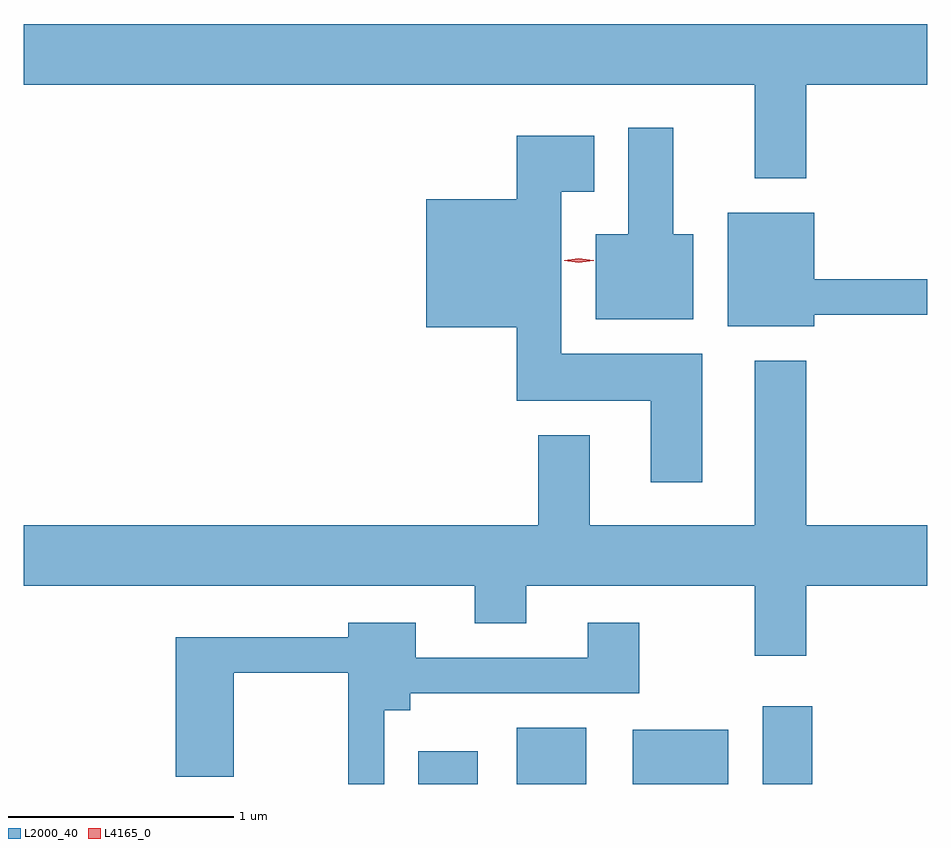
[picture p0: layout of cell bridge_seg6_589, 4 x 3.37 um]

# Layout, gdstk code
import gdstk
lib = gdstk.Library(unit=1e-6, precision=1e-09)
def R(c, l, rs):  # rectangles x0, y0, x1, y1
    for r in rs: c.add(gdstk.rectangle(r[:2], r[2:], *l))
def P(c, l, *ps):  # polygons
    for p in ps: c.add(gdstk.Polygon(p, *l))
L2000_40 = (2000, 40)
L4165_0 = (4165, 0)

bridge_seg6_589 = lib.new_cell('bridge_seg6_589')
R(bridge_seg6_589, L2000_40, [(605.211,1611.319,605.474,1611.464), (605.646,1611.319,605.954,1611.569), (606.161,1611.319,606.584,1611.559), (606.736,1611.319,606.954,1611.664)])
P(bridge_seg6_589, L2000_40, [(606.929,1614.416),(607.464,1614.416),(607.464,1614.684),(603.464,1614.684),(603.464,1614.416),(606.701,1614.416),(606.701,1614.001),(606.929,1614.001)],
  [(606.429,1613.754),(606.339,1613.754),(606.339,1614.224),(606.141,1614.224),(606.141,1613.754),(605.996,1613.754),(605.996,1613.376),(606.429,1613.376)],
  [(606.469,1613.224),(605.844,1613.224),(605.844,1613.941),(605.989,1613.941),(605.989,1614.189),(605.646,1614.189),(605.646,1613.909),(605.246,1613.909),(605.246,1613.341),(605.646,1613.341),(605.646,1613.016),(606.241,1613.016),(606.241,1612.656),(606.469,1612.656)],
  [(606.964,1613.396),(607.464,1613.396),(607.464,1613.554),(606.964,1613.554),(606.964,1613.849),(606.581,1613.849),(606.581,1613.346),(606.964,1613.346)],
  [(606.929,1612.196),(607.464,1612.196),(607.464,1612.464),(606.929,1612.464),(606.929,1613.194),(606.701,1613.194),(606.701,1612.464),(605.969,1612.464),(605.969,1612.864),(605.741,1612.864),(605.741,1612.464),(603.464,1612.464),(603.464,1612.196),(605.461,1612.196),(605.461,1612.031),(605.689,1612.031),(605.689,1612.196),(606.701,1612.196),(606.701,1611.886),(606.929,1611.886)],
  [(605.059,1611.646),(605.174,1611.646),(605.174,1611.721),(606.189,1611.721),(606.189,1612.034),(605.961,1612.034),(605.961,1611.879),(605.199,1611.879),(605.199,1612.034),(604.901,1612.034),(604.901,1611.969),(604.136,1611.969),(604.136,1611.351),(604.394,1611.351),(604.394,1611.811),(604.901,1611.811),(604.901,1611.319),(605.059,1611.319)])
P(bridge_seg6_589, L4165_0, [(605.922,1613.627),(605.856,1613.636),(605.856,1613.637),(605.856,1613.637),(605.922,1613.647),(605.988,1613.637),(605.988,1613.637),(605.988,1613.636)])

lib.write_gds('bridge_seg6_589.gds')
